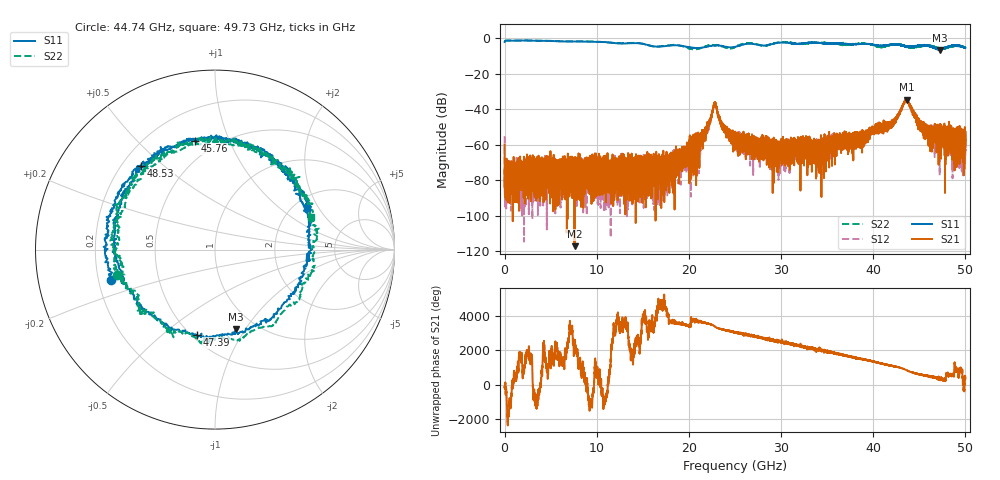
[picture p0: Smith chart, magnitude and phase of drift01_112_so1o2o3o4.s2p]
!Created with skrf (http://scikit-rf.org).
# Hz S RI R 50.0
!freq ReS11 ImS11 ReS21 ImS21 ReS12 ImS12 ReS22 ImS22
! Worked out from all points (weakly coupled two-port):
!   10001 points, 300 kHz to 50 GHz, reference 50 ohm
!   highest |S21| = -34.56 dB at 43.67 GHz (marker M1); lowest = -117.0 dB at 7.585 GHz (marker M2)
!   lowest |S11| = -6.8 dB at 47.21 GHz (marker M3), VSWR 2.70, Z = 40.3 - j45.4 ohm
!   |S11| at or under -10 dB: nowhere
!   |S22| runs from -6.4 to -1.4 dB; largest |S21 - S12| = 0.0036
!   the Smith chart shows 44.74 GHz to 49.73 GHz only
!   S11 on the Smith chart (normalised r, x): 44.74 GHz: 0.25, -0.13; 45.76 GHz: 0.39, +0.75; 47.39 GHz: 0.53, -0.66; 48.53 GHz: 0.28, +0.42; 49.73 GHz: 2.35, +1.59
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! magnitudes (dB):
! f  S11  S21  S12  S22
! 300 kHz  -2.2  -59.9  -55.2  -2.1
! 260.3 MHz  -1.4  -77.1  -85.1  -1.4
! 7.585 GHz  -1.9  -117.0  -86.9  -1.8
! 8.335 GHz  -1.9  -81.3  -77.6  -1.8
! 16.67 GHz  -4.8  -78.2  -72.6  -4.8
! 21 GHz  -5.6  -59.6  -56.9  -6.1
! 21.85 GHz  -5.0  -50.2  -51.3  -4.7
! 22.8 GHz  -4.3  -36.5  -36.3  -4.0
! 23.89 GHz  -4.8  -49.3  -50.8  -5.3
! 25 GHz  -5.0  -56.3  -54.2  -5.1
! 29.41 GHz  -2.9  -67.4  -61.4  -2.7
! 33.34 GHz  -2.6  -69.7  -65.8  -2.7
! 38.54 GHz  -3.3  -56.2  -57.4  -3.2
! 41.67 GHz  -3.9  -49.9  -49.0  -4.3
! 43.67 GHz  -4.6  -34.6  -35.2  -4.9
! 44.74 GHz  -4.4  -45.2  -46.3  -4.9
! 45.76 GHz  -4.2  -50.9  -50.7  -4.2
! 47.21 GHz  -6.8  -54.2  -77.2  -5.8
! 47.39 GHz  -6.3  -56.4  -56.0  -5.8
! 48.53 GHz  -4.1  -61.9  -56.9  -4.6
! 49.73 GHz  -5.0  -54.8  -58.9  -5.0
! 50 GHz  -5.6  -61.3  -54.9  -5.4
